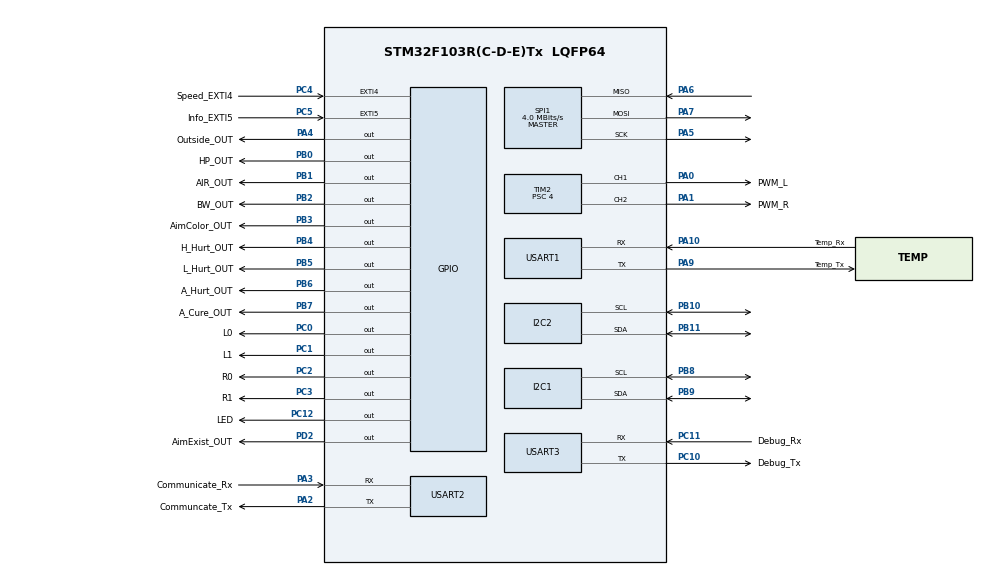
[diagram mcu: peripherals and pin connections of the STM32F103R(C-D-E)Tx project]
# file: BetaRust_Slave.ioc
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Dma.Request0=SPI1_RX
Dma.Request1=SPI1_TX
Dma.Request2=USART1_RX
Dma.Request3=USART1_TX
Dma.Request4=USART2_RX
Dma.Request5=USART2_TX
Dma.SPI1_RX.0.Direction=DMA_PERIPH_TO_MEMORY
Dma.SPI1_RX.0.Instance=DMA1_Channel2
Dma.SPI1_RX.0.MemDataAlignment=DMA_MDATAALIGN_BYTE
Dma.SPI1_RX.0.MemInc=DMA_MINC_ENABLE
Dma.SPI1_RX.0.Mode=DMA_NORMAL
Dma.SPI1_RX.0.PeriphDataAlignment=DMA_PDATAALIGN_BYTE
Dma.SPI1_RX.0.PeriphInc=DMA_PINC_DISABLE
Dma.SPI1_RX.0.Priority=DMA_PRIORITY_LOW
Dma.SPI1_TX.1.Direction=DMA_MEMORY_TO_PERIPH
Dma.SPI1_TX.1.Instance=DMA1_Channel3
Dma.SPI1_TX.1.MemDataAlignment=DMA_MDATAALIGN_BYTE
Dma.SPI1_TX.1.MemInc=DMA_MINC_ENABLE
Dma.SPI1_TX.1.Mode=DMA_NORMAL
Dma.SPI1_TX.1.PeriphDataAlignment=DMA_PDATAALIGN_BYTE
Dma.SPI1_TX.1.PeriphInc=DMA_PINC_DISABLE
Dma.SPI1_TX.1.Priority=DMA_PRIORITY_LOW
Dma.USART1_RX.2.Direction=DMA_PERIPH_TO_MEMORY
Dma.USART1_RX.2.Instance=DMA1_Channel5
Dma.USART1_RX.2.MemDataAlignment=DMA_MDATAALIGN_BYTE
Dma.USART1_RX.2.MemInc=DMA_MINC_ENABLE
Dma.USART1_RX.2.Mode=DMA_NORMAL
Dma.USART1_RX.2.PeriphDataAlignment=DMA_PDATAALIGN_BYTE
Dma.USART1_RX.2.PeriphInc=DMA_PINC_DISABLE
Dma.USART1_RX.2.Priority=DMA_PRIORITY_LOW
Dma.USART1_TX.3.Direction=DMA_MEMORY_TO_PERIPH
Dma.USART1_TX.3.Instance=DMA1_Channel4
Dma.USART1_TX.3.MemDataAlignment=DMA_MDATAALIGN_BYTE
Dma.USART1_TX.3.MemInc=DMA_MINC_ENABLE
Dma.USART1_TX.3.Mode=DMA_NORMAL
Dma.USART1_TX.3.PeriphDataAlignment=DMA_PDATAALIGN_BYTE
Dma.USART1_TX.3.PeriphInc=DMA_PINC_DISABLE
Dma.USART1_TX.3.Priority=DMA_PRIORITY_LOW
Dma.USART2_RX.4.Direction=DMA_PERIPH_TO_MEMORY
Dma.USART2_RX.4.Instance=DMA1_Channel6
Dma.USART2_RX.4.MemDataAlignment=DMA_MDATAALIGN_BYTE
Dma.USART2_RX.4.MemInc=DMA_MINC_ENABLE
Dma.USART2_RX.4.Mode=DMA_NORMAL
Dma.USART2_RX.4.PeriphDataAlignment=DMA_PDATAALIGN_BYTE
Dma.USART2_RX.4.PeriphInc=DMA_PINC_DISABLE
Dma.USART2_RX.4.Priority=DMA_PRIORITY_LOW
Dma.USART2_TX.5.Direction=DMA_MEMORY_TO_PERIPH
Dma.USART2_TX.5.Instance=DMA1_Channel7
Dma.USART2_TX.5.MemDataAlignment=DMA_MDATAALIGN_BYTE
Dma.USART2_TX.5.MemInc=DMA_MINC_ENABLE
Dma.USART2_TX.5.Mode=DMA_NORMAL
Dma.USART2_TX.5.PeriphDataAlignment=DMA_PDATAALIGN_BYTE
Dma.USART2_TX.5.PeriphInc=DMA_PINC_DISABLE
Dma.USART2_TX.5.Priority=DMA_PRIORITY_LOW
Mcu.Family=STM32F1
Mcu.Name=STM32F103R(C-D-E)Tx
Mcu.Package=LQFP64
NVIC.DMA1_Channel2_IRQn=true\:0\:0\:false\:false\:true
NVIC.DMA1_Channel3_IRQn=true\:0\:0\:false\:false\:true
NVIC.DMA1_Channel4_IRQn=true\:0\:0\:false\:false\:true
NVIC.DMA1_Channel5_IRQn=true\:0\:0\:false\:false\:true
NVIC.DMA1_Channel6_IRQn=true\:0\:0\:false\:false\:true
NVIC.DMA1_Channel7_IRQn=true\:0\:0\:false\:false\:true
NVIC.EXTI4_IRQn=true\:0\:0\:false\:false\:true
NVIC.EXTI9_5_IRQn=true\:0\:0\:false\:false\:true
NVIC.PriorityGroup=NVIC_PRIORITYGROUP_4
PA0-WKUP.GPIO_Label=PWM_L
PA0-WKUP.Signal=S_TIM2_CH1_ETR
PA1.GPIO_Label=PWM_R
PA1.Signal=S_TIM2_CH2
PA10.GPIO_Label=Temp_Rx
PA10.Mode=Asynchronous
PA10.Signal=USART1_RX
PA13.Mode=Serial_Wire
PA13.Signal=SYS_JTMS-SWDIO
PA14.Mode=Serial_Wire
PA14.Signal=SYS_JTCK-SWCLK
PA2.GPIO_Label=Communcate_Tx
PA2.Mode=Asynchronous
PA2.Signal=USART2_TX
PA3.GPIO_Label=Communicate_Rx
PA3.Mode=Asynchronous
PA3.Signal=USART2_RX
PA4.GPIO_Label=Outside_OUT
PA4.Signal=GPIO_Output
PA5.Mode=Full_Duplex_Master
PA5.Signal=SPI1_SCK
PA6.Mode=Full_Duplex_Master
PA6.Signal=SPI1_MISO
PA7.Mode=Full_Duplex_Master
PA7.Signal=SPI1_MOSI
PA9.GPIO_Label=Temp_Tx
PA9.Mode=Asynchronous
PA9.Signal=USART1_TX
PB0.GPIO_Label=HP_OUT
PB0.Signal=GPIO_Output
PB1.GPIO_Label=AIR_OUT
PB1.Signal=GPIO_Output
PB10.Mode=I2C
PB10.Signal=I2C2_SCL
PB11.Mode=I2C
PB11.Signal=I2C2_SDA
PB2.GPIO_Label=BW_OUT
PB2.Signal=GPIO_Output
PB3.GPIO_Label=AimColor_OUT
PB3.Signal=GPIO_Output
PB4.GPIO_Label=H_Hurt_OUT
PB4.Signal=GPIO_Output
PB5.GPIO_Label=L_Hurt_OUT
PB5.Signal=GPIO_Output
PB6.GPIO_Label=A_Hurt_OUT
PB6.Signal=GPIO_Output
PB7.GPIO_Label=A_Cure_OUT
PB7.Signal=GPIO_Output
PB8.Mode=I2C
PB8.Signal=I2C1_SCL
PB9.Mode=I2C
PB9.Signal=I2C1_SDA
PC0.GPIO_Label=L0
PC0.Signal=GPIO_Output
PC1.GPIO_Label=L1
PC1.Signal=GPIO_Output
PC10.GPIO_Label=Debug_Tx
PC10.Mode=Asynchronous
PC10.Signal=USART3_TX
PC11.GPIO_Label=Debug_Rx
PC11.Mode=Asynchronous
PC11.Signal=USART3_RX
PC12.GPIO_Label=LED
PC12.Signal=GPIO_Output
PC2.GPIO_Label=R0
PC2.Signal=GPIO_Output
PC3.GPIO_Label=R1
PC3.Signal=GPIO_Output
PC4.GPIO_Label=Speed_EXTI4
PC4.Signal=GPXTI4
PC5.GPIO_Label=Info_EXTI5
PC5.Signal=GPXTI5
PD2.GPIO_Label=AimExist_OUT
PD2.Signal=GPIO_Output
ProjectManager.HeapSize=0x200
ProjectManager.StackSize=0x400
ProjectManager.TargetToolchain=MDK-ARM V5
RCC.APB1Freq_Value=8000000
RCC.APB2Freq_Value=8000000
SH.S_TIM2_CH1_ETR.0=TIM2_CH1,PWM Generation1 CH1
SH.S_TIM2_CH2.0=TIM2_CH2,PWM Generation2 CH2
SPI1.CalculateBaudRate=4.0 MBits/s
SPI1.Mode=SPI_MODE_MASTER
TIM2.Channel-PWM\ Generation2\ CH2=TIM_CHANNEL_2
TIM2.Period=1999
TIM2.Prescaler=4
TIM2.Pulse-PWM\ Generation1\ CH1=1000
TIM2.Pulse-PWM\ Generation2\ CH2=1000
board=BetaRust_Slave

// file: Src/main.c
/**
  ******************************************************************************
  * File Name          : main.c
  * Description        : Main program body
  ******************************************************************************
  *
  * COPYRIGHT(c) 2016 STMicroelectronics
  *
  * Redistribution and use in source and binary forms, with or without modification,
  * are permitted provided that the following conditions are met:
  *   1. Redistributions of source code must retain the above copyright notice,
  *      this list of conditions and the following disclaimer.
  *   2. Redistributions in binary form must reproduce the above copyright notice,
  *      this list of conditions and the following disclaimer in the documentation
  *      and/or other materials provided with the distribution.
  *   3. Neither the name of STMicroelectronics nor the names of its contributors
  *      may be used to endorse or promote products derived from this software
  *      without specific prior written permission.
  *
  * THIS SOFTWARE IS PROVIDED BY THE COPYRIGHT HOLDERS AND CONTRIBUTORS "AS IS"
  * AND ANY EXPRESS OR IMPLIED WARRANTIES, INCLUDING, BUT NOT LIMITED TO, THE
  * IMPLIED WARRANTIES OF MERCHANTABILITY AND FITNESS FOR A PARTICULAR PURPOSE ARE
  * DISCLAIMED. IN NO EVENT SHALL THE COPYRIGHT HOLDER OR CONTRIBUTORS BE LIABLE
  * FOR ANY DIRECT, INDIRECT, INCIDENTAL, SPECIAL, EXEMPLARY, OR CONSEQUENTIAL
  * DAMAGES (INCLUDING, BUT NOT LIMITED TO, PROCUREMENT OF SUBSTITUTE GOODS OR
  * SERVICES; LOSS OF USE, DATA, OR PROFITS; OR BUSINESS INTERRUPTION) HOWEVER
  * CAUSED AND ON ANY THEORY OF LIABILITY, WHETHER IN CONTRACT, STRICT LIABILITY,
  * OR TORT (INCLUDING NEGLIGENCE OR OTHERWISE) ARISING IN ANY WAY OUT OF THE USE
  * OF THIS SOFTWARE, EVEN IF ADVISED OF THE POSSIBILITY OF SUCH DAMAGE.
  *
  ******************************************************************************
  */
#include "stm32f1xx_hal.h"
#include "dma.h"
#include "i2c.h"
#include "spi.h"
#include "tim.h"
#include "usart.h"
#include "gpio.h"

/* USER CODE BEGIN Includes */

#define NUM 17
#define RAW 18
#define T 4
//#undef TEMP
#define TEMP
/* USER CODE END Includes */

/* USER CODE BEGIN PV */
/* Private variables ---------------------------------------------------------*/
uint8_t raw_data[RAW];
uint8_t info_buffer[NUM];
uint8_t send_buffer[T]={0xEE,0xFF,0x0D,0x0A};
uint8_t _buffer[4];
/* USER CODE END PV */

void SystemClock_Config(void);
void Error_Handler(void);

/* USER CODE BEGIN PFP */
/* Private function prototypes -----------------------------------------------*/
void HAL_SPI_RxCpltCallback(SPI_HandleTypeDef *hspi);
void HAL_SPI_TxCpltCallback(SPI_HandleTypeDef *hspi);
void HAL_GPIO_EXTI_Callback(uint16_t GPIO_Pin);
void HAL_UART_RxCpltCallback(UART_HandleTypeDef *huart);
void Analyze(void);
void GetVector(uint8_t*);
void CheckVector(void);
/* USER CODE END PFP */

int main(void)
{

  /* MCU Configuration----------------------------------------------------------*/

  /* Reset of all peripherals, Initializes the Flash interface and the Systick. */
  HAL_Init();

  /* Configure the system clock */
  SystemClock_Config();

  /* Initialize all configured peripherals */
  MX_GPIO_Init();
  MX_DMA_Init();
  MX_I2C1_Init();
  MX_I2C2_Init();
  MX_SPI1_Init();
  MX_TIM2_Init();
  MX_USART1_UART_Init();
  MX_USART2_UART_Init();
  MX_USART3_UART_Init();

  /* USER CODE BEGIN 2 */
	HAL_TIM_PWM_Start(&htim2, TIM_CHANNEL_1);
	HAL_TIM_PWM_Start(&htim2, TIM_CHANNEL_2);
  /* USER CODE END 2 */

  /* Infinite loop */

  while (1)
  {
		/* USER CODE BEGIN WHILE */

#ifdef TEMP
		UART_HandleTypeDef* huart =&huart1;
#else
		UART_HandleTypeDef* huart =&huart2;
#endif
		HAL_UART_Receive_DMA(huart,raw_data,RAW);
		if(raw_data[1]&1){
			//go to opponent
			send_buffer[0]=raw_data[4];
			send_buffer[1]=raw_data[5];
			HAL_UART_Transmit(huart,send_buffer,T,10);
		}
		else{
			send_buffer[0]=raw_data[2];
			send_buffer[1]=raw_data[3];
			HAL_UART_Transmit(huart,send_buffer,T,10);
		}

		/* USER CODE END WHILE */
	}

}

/** System Clock Configuration
*/
void SystemClock_Config(void)
{

  RCC_OscInitTypeDef RCC_OscInitStruct;
  RCC_ClkInitTypeDef RCC_ClkInitStruct;

  RCC_OscInitStruct.OscillatorType = RCC_OSCILLATORTYPE_HSI;
  RCC_OscInitStruct.HSIState = RCC_HSI_ON;
  RCC_OscInitStruct.HSICalibrationValue = 16;
  RCC_OscInitStruct.PLL.PLLState = RCC_PLL_NONE;
  if (HAL_RCC_OscConfig(&RCC_OscInitStruct) != HAL_OK)
  {
    Error_Handler();
  }

  RCC_ClkInitStruct.ClockType = RCC_CLOCKTYPE_HCLK|RCC_CLOCKTYPE_SYSCLK
                              |RCC_CLOCKTYPE_PCLK1|RCC_CLOCKTYPE_PCLK2;
  RCC_ClkInitStruct.SYSCLKSource = RCC_SYSCLKSOURCE_HSI;
  RCC_ClkInitStruct.AHBCLKDivider = RCC_SYSCLK_DIV1;
  RCC_ClkInitStruct.APB1CLKDivider = RCC_HCLK_DIV1;
  RCC_ClkInitStruct.APB2CLKDivider = RCC_HCLK_DIV1;
  if (HAL_RCC_ClockConfig(&RCC_ClkInitStruct, FLASH_LATENCY_0) != HAL_OK)
  {
    Error_Handler();
  }

  HAL_SYSTICK_Config(HAL_RCC_GetHCLKFreq()/1000);

  HAL_SYSTICK_CLKSourceConfig(SYSTICK_CLKSOURCE_HCLK);

  /* SysTick_IRQn interrupt configuration */
  HAL_NVIC_SetPriority(SysTick_IRQn, 0, 0);
}

/* USER CODE BEGIN 4 */
void HAL_GPIO_EXTI_Callback(uint16_t GPIO_Pin){
	if(GPIO_Pin==Speed_EXTI4_Pin){
		//get_speed set_speed
		HAL_SPI_Receive_DMA(&hspi1,_buffer,4);
	}
	else if(GPIO_Pin==Info_EXTI5_Pin){
		HAL_SPI_Transmit(&hspi1,info_buffer,NUM,10);
	}
}
void Analyze(){
			//Analyze the data
			HAL_GPIO_WritePin(GPIOB,AimColor_OUT_Pin,(GPIO_PinState)(raw_data[1]&1));
			raw_data[1]>>=1;
			HAL_GPIO_WritePin(GPIOD,AimExist_OUT_Pin,(GPIO_PinState)(raw_data[1]&1));
			raw_data[1]>>=1;
			HAL_GPIO_WritePin(GPIOA,Outside_OUT_Pin,(GPIO_PinState)(raw_data[1]&1));
			raw_data[1]>>=1;
			HAL_GPIO_WritePin(GPIOB,A_Hurt_OUT_Pin,(GPIO_PinState)(raw_data[1]&1));
			raw_data[1]>>=1;
			HAL_GPIO_WritePin(GPIOB,A_Cure_OUT_Pin,(GPIO_PinState)(raw_data[1]&1));
			raw_data[1]>>=1;
			HAL_GPIO_WritePin(GPIOB,H_Hurt_OUT_Pin,(GPIO_PinState)(raw_data[1]&1));
			raw_data[1]>>=1;
			HAL_GPIO_WritePin(GPIOB,L_Hurt_OUT_Pin,(GPIO_PinState)(raw_data[1]&1));
			raw_data[1]>>=1;
			switch(raw_data[15]>>6){
				case 0:
					HAL_GPIO_WritePin(GPIOB,BW_OUT_Pin,GPIO_PIN_SET);
					HAL_GPIO_WritePin(GPIOB,AIR_OUT_Pin,GPIO_PIN_RESET);
					HAL_GPIO_WritePin(GPIOB,HP_OUT_Pin,GPIO_PIN_RESET);
					break;
				case 1:
					HAL_GPIO_WritePin(GPIOB,BW_OUT_Pin,GPIO_PIN_RESET);
					HAL_GPIO_WritePin(GPIOB,AIR_OUT_Pin,GPIO_PIN_SET);
					HAL_GPIO_WritePin(GPIOB,HP_OUT_Pin,GPIO_PIN_RESET);
					break;
				case 2:
					HAL_GPIO_WritePin(GPIOB,BW_OUT_Pin,GPIO_PIN_RESET);
					HAL_GPIO_WritePin(GPIOB,AIR_OUT_Pin,GPIO_PIN_RESET);
					HAL_GPIO_WritePin(GPIOB,HP_OUT_Pin,GPIO_PIN_SET);
					break;
				case 3:
					HAL_GPIO_WritePin(GPIOB,BW_OUT_Pin,GPIO_PIN_RESET);
					HAL_GPIO_WritePin(GPIOB,AIR_OUT_Pin,GPIO_PIN_RESET);
					HAL_GPIO_WritePin(GPIOB,HP_OUT_Pin,GPIO_PIN_RESET);
					break;
			}
			info_buffer[0]=0xAB;
			for(int i=0;i<12;i++)
				info_buffer[1+i]=raw_data[2+i];
			info_buffer[13]=0xCD;
			GetVector(info_buffer+14);
			info_buffer[16]=0xEF;
			CheckVector();
}
void HAL_SPI_RxCpltCallback(SPI_HandleTypeDef *hspi){
	hspi->State = HAL_SPI_STATE_READY;
	if(_buffer[0]==0xAB&&_buffer[3]==0xCD){//check
			//set speed
			if(_buffer[1]>128){
				_buffer[1]-=128;
				HAL_GPIO_WritePin(GPIOC,L1_Pin,GPIO_PIN_SET);
				HAL_GPIO_WritePin(GPIOC,L0_Pin,GPIO_PIN_RESET);
			}
			else if(_buffer[1]<128){
				_buffer[1]=127-_buffer[1];
				HAL_GPIO_WritePin(GPIOC,L1_Pin,GPIO_PIN_RESET);
				HAL_GPIO_WritePin(GPIOC,L0_Pin,GPIO_PIN_SET);
			}
			else{
				_buffer[1]=100;
				HAL_GPIO_WritePin(GPIOC,L1_Pin,GPIO_PIN_SET);
				HAL_GPIO_WritePin(GPIOC,L0_Pin,GPIO_PIN_SET);
			}
			if(_buffer[2]>128){
				_buffer[2]-=128;
				HAL_GPIO_WritePin(GPIOC,R1_Pin,GPIO_PIN_SET);
				HAL_GPIO_WritePin(GPIOC,R0_Pin,GPIO_PIN_RESET);
			}
			else if(_buffer[2]<128){
				_buffer[2]=127-_buffer[2];
				HAL_GPIO_WritePin(GPIOC,R1_Pin,GPIO_PIN_RESET);
				HAL_GPIO_WritePin(GPIOC,R0_Pin,GPIO_PIN_SET);
			}
			else{
				_buffer[2]=100;
				HAL_GPIO_WritePin(GPIOC,R1_Pin,GPIO_PIN_SET);
				HAL_GPIO_WritePin(GPIOC,R0_Pin,GPIO_PIN_SET);
			}
			TIM_OC_InitTypeDef L_sConfigOC;
			L_sConfigOC.OCMode = TIM_OCMODE_PWM1;
			L_sConfigOC.Pulse = (_buffer[1]*(htim2.Init.Period+1))>>7;
			L_sConfigOC.OCPolarity = TIM_OCPOLARITY_HIGH;
			L_sConfigOC.OCFastMode = TIM_OCFAST_DISABLE;
			HAL_TIM_PWM_ConfigChannel(&htim2, &L_sConfigOC, TIM_CHANNEL_1);
			HAL_TIM_PWM_Start(&htim2, TIM_CHANNEL_1);
			TIM_OC_InitTypeDef R_sConfigOC;
			R_sConfigOC.OCMode = TIM_OCMODE_PWM1;
			R_sConfigOC.Pulse = (_buffer[2]*(htim2.Init.Period+1))>>7;
			R_sConfigOC.OCPolarity = TIM_OCPOLARITY_HIGH;
			R_sConfigOC.OCFastMode = TIM_OCFAST_DISABLE;
			HAL_TIM_PWM_ConfigChannel(&htim2, &R_sConfigOC, TIM_CHANNEL_2);
			HAL_TIM_PWM_Start(&htim2, TIM_CHANNEL_2);
		}
}
void HAL_UART_RxCpltCallback(UART_HandleTypeDef *huart){
	huart->State=HAL_UART_STATE_READY;
	if(raw_data[16]==0x0D&&raw_data[17]==0x0A){
		Analyze();
	}
}
void HAL_SPI_TxCpltCallBack(SPI_HandleTypeDef *hspi){
	hspi->State = HAL_SPI_STATE_READY;
}
void GetVector(uint8_t* buffer){
	//get the vector
}
void CheckVector(){
	//check the right vector
}
/* USER CODE END 4 */

void Error_Handler(void)
{
  while(1)
  {
  }
}

/************************ (C) COPYRIGHT STMicroelectronics *****END OF FILE****/
